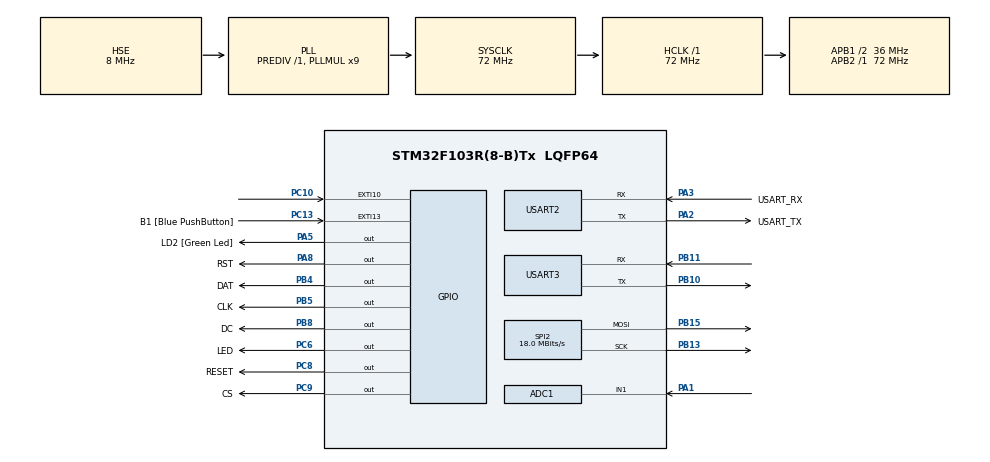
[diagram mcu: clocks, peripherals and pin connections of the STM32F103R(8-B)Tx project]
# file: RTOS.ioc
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ADC1.Channel-0\#ChannelRegularConversion=ADC_CHANNEL_1
ADC1.ContinuousConvMode=ENABLE
ADC1.NbrOfConversionFlag=1
ADC1.Rank-0\#ChannelRegularConversion=1
ADC1.SamplingTime-0\#ChannelRegularConversion=ADC_SAMPLETIME_1CYCLE_5
ADC1.master=1
Dma.ADC1.1.Direction=DMA_PERIPH_TO_MEMORY
Dma.ADC1.1.Instance=DMA1_Channel1
Dma.ADC1.1.MemDataAlignment=DMA_MDATAALIGN_HALFWORD
Dma.ADC1.1.MemInc=DMA_MINC_ENABLE
Dma.ADC1.1.Mode=DMA_NORMAL
Dma.ADC1.1.PeriphDataAlignment=DMA_PDATAALIGN_HALFWORD
Dma.ADC1.1.PeriphInc=DMA_PINC_DISABLE
Dma.ADC1.1.Priority=DMA_PRIORITY_LOW
Dma.Request0=SPI2_TX
Dma.Request1=ADC1
Dma.Request2=USART3_RX
Dma.Request3=USART3_TX
Dma.SPI2_TX.0.Direction=DMA_MEMORY_TO_PERIPH
Dma.SPI2_TX.0.Instance=DMA1_Channel5
Dma.SPI2_TX.0.MemDataAlignment=DMA_MDATAALIGN_BYTE
Dma.SPI2_TX.0.MemInc=DMA_MINC_ENABLE
Dma.SPI2_TX.0.Mode=DMA_NORMAL
Dma.SPI2_TX.0.PeriphDataAlignment=DMA_PDATAALIGN_BYTE
Dma.SPI2_TX.0.PeriphInc=DMA_PINC_DISABLE
Dma.SPI2_TX.0.Priority=DMA_PRIORITY_VERY_HIGH
Dma.USART3_RX.2.Direction=DMA_PERIPH_TO_MEMORY
Dma.USART3_RX.2.Instance=DMA1_Channel3
Dma.USART3_RX.2.MemDataAlignment=DMA_MDATAALIGN_BYTE
Dma.USART3_RX.2.MemInc=DMA_MINC_ENABLE
Dma.USART3_RX.2.Mode=DMA_NORMAL
Dma.USART3_RX.2.PeriphDataAlignment=DMA_PDATAALIGN_BYTE
Dma.USART3_RX.2.PeriphInc=DMA_PINC_DISABLE
Dma.USART3_RX.2.Priority=DMA_PRIORITY_MEDIUM
Dma.USART3_TX.3.Direction=DMA_MEMORY_TO_PERIPH
Dma.USART3_TX.3.Instance=DMA1_Channel2
Dma.USART3_TX.3.MemDataAlignment=DMA_MDATAALIGN_BYTE
Dma.USART3_TX.3.MemInc=DMA_MINC_ENABLE
Dma.USART3_TX.3.Mode=DMA_NORMAL
Dma.USART3_TX.3.PeriphDataAlignment=DMA_PDATAALIGN_BYTE
Dma.USART3_TX.3.PeriphInc=DMA_PINC_DISABLE
Dma.USART3_TX.3.Priority=DMA_PRIORITY_MEDIUM
FREERTOS.BinarySemaphores01=time,Dynamic,NULL,Depleted;sensor,Dynamic,NULL,Depleted
FREERTOS.HEAP_NUMBER=4
FREERTOS.Tasks01=collect,29,512,collection,Default,NULL,Dynamic,NULL,NULL;tx,40,512,trans,Default,NULL,Dynamic,NULL,NULL;LCDtask,24,512,LCD,Default,NULL,Dynamic,NULL,NULL
FREERTOS.configMINIMAL_STACK_SIZE=256
FREERTOS.configTOTAL_HEAP_SIZE=10000
FREERTOS.configUSE_NEWLIB_REENTRANT=1
Mcu.Family=STM32F1
Mcu.Name=STM32F103R(8-B)Tx
Mcu.Package=LQFP64
NVIC.DMA1_Channel1_IRQn=true\:5\:0\:false\:false\:true\:true\:false\:true\:true
NVIC.DMA1_Channel2_IRQn=true\:5\:0\:false\:false\:true\:true\:false\:true\:true
NVIC.DMA1_Channel3_IRQn=true\:5\:0\:false\:false\:true\:true\:false\:true\:true
NVIC.DMA1_Channel5_IRQn=true\:5\:0\:false\:false\:true\:true\:false\:true\:true
NVIC.EXTI15_10_IRQn=true\:5\:0\:false\:false\:true\:true\:true\:true\:true
NVIC.PriorityGroup=NVIC_PRIORITYGROUP_4
NVIC.TIM4_IRQn=true\:15\:0\:false\:false\:true\:false\:false\:true\:true
NVIC.TimeBase=TIM4_IRQn
NVIC.TimeBaseIP=TIM4
NVIC.USART3_IRQn=true\:5\:0\:false\:false\:true\:true\:true\:true\:true
PA1.Signal=ADCx_IN1
PA13.GPIO_Label=TMS
PA13.Mode=Serial_Wire
PA13.Signal=SYS_JTMS-SWDIO
PA14.GPIO_Label=TCK
PA14.Mode=Serial_Wire
PA14.Signal=SYS_JTCK-SWCLK
PA2.GPIO_Label=USART_TX
PA2.GPIO_Mode=GPIO_MODE_AF_PP
PA2.GPIO_PuPd=GPIO_NOPULL
PA2.GPIO_Speed=GPIO_SPEED_FREQ_LOW
PA2.Mode=Asynchronous
PA2.Signal=USART2_TX
PA3.GPIO_Label=USART_RX
PA3.GPIO_Mode=GPIO_MODE_AF_PP
PA3.GPIO_PuPd=GPIO_NOPULL
PA3.GPIO_Speed=GPIO_SPEED_FREQ_LOW
PA3.Mode=Asynchronous
PA3.Signal=USART2_RX
PA5.GPIO_Label=LD2 [Green Led]
PA5.GPIO_ModeDefaultOutputPP=GPIO_MODE_OUTPUT_PP
PA5.GPIO_PuPd=GPIO_NOPULL
PA5.GPIO_Speed=GPIO_SPEED_FREQ_LOW
PA5.Signal=GPIO_Output
PA8.GPIO_Label=RST
PA8.GPIO_Speed=GPIO_SPEED_FREQ_MEDIUM
PA8.PinState=GPIO_PIN_RESET
PA8.Signal=GPIO_Output
PB10.Mode=Asynchronous
PB10.Signal=USART3_TX
PB11.Mode=Asynchronous
PB11.Signal=USART3_RX
PB13.Mode=TX_Only_Simplex_Unidirect_Master
PB13.Signal=SPI2_SCK
PB15.Mode=TX_Only_Simplex_Unidirect_Master
PB15.Signal=SPI2_MOSI
PB3.GPIO_Label=SWO
PB3.Signal=SYS_JTDO-TRACESWO
PB4.GPIO_Label=DAT
PB4.GPIO_Speed=GPIO_SPEED_FREQ_MEDIUM
PB4.Signal=GPIO_Output
PB5.GPIO_Label=CLK
PB5.GPIO_Speed=GPIO_SPEED_FREQ_MEDIUM
PB5.PinState=GPIO_PIN_RESET
PB5.Signal=GPIO_Output
PB8.GPIO_Label=DC
PB8.GPIO_Speed=GPIO_SPEED_FREQ_MEDIUM
PB8.Signal=GPIO_Output
PC10.GPIO_ModeDefaultEXTI=GPIO_MODE_IT_FALLING
PC10.GPIO_PuPd=GPIO_PULLUP
PC10.Signal=GPXTI10
PC13-TAMPER-RTC.GPIO_Label=B1 [Blue PushButton]
PC13-TAMPER-RTC.GPIO_PuPd=GPIO_NOPULL
PC13-TAMPER-RTC.Signal=GPXTI13
PC14-OSC32_IN.Mode=LSE-External-Oscillator
PC14-OSC32_IN.Signal=RCC_OSC32_IN
PC15-OSC32_OUT.Mode=LSE-External-Oscillator
PC15-OSC32_OUT.Signal=RCC_OSC32_OUT
PC6.GPIO_Label=LED
PC6.GPIO_Speed=GPIO_SPEED_FREQ_MEDIUM
PC6.PinState=GPIO_PIN_SET
PC6.Signal=GPIO_Output
PC8.GPIO_Label=RESET
PC8.GPIO_Speed=GPIO_SPEED_FREQ_MEDIUM
PC8.Signal=GPIO_Output
PC9.GPIO_Label=CS
PC9.GPIO_Speed=GPIO_SPEED_FREQ_MEDIUM
PC9.PinState=GPIO_PIN_SET
PC9.Signal=GPIO_Output
PD0-OSC_IN.Mode=HSE-External-Clock-Source
PD0-OSC_IN.Signal=RCC_OSC_IN
PD1-OSC_OUT.Mode=HSE-External-Clock-Source
PD1-OSC_OUT.Signal=RCC_OSC_OUT
ProjectManager.HeapSize=0x200
ProjectManager.StackSize=0x400
ProjectManager.TargetToolchain=STM32CubeIDE
RCC.ADCPresc=RCC_ADCPCLK2_DIV6
RCC.AHBFreq_Value=72000000
RCC.APB1CLKDivider=RCC_HCLK_DIV2
RCC.APB1Freq_Value=36000000
RCC.APB1TimFreq_Value=72000000
RCC.APB2Freq_Value=72000000
RCC.APB2TimFreq_Value=72000000
RCC.HCLKFreq_Value=72000000
RCC.PLLMUL=RCC_PLL_MUL9
RCC.PLLSourceVirtual=RCC_PLLSOURCE_HSE
RCC.RTCClockSelection=RCC_RTCCLKSOURCE_LSE
RCC.SYSCLKFreq_VALUE=72000000
RCC.SYSCLKSource=RCC_SYSCLKSOURCE_PLLCLK
RCC.USBFreq_Value=72000000
SH.ADCx_IN1.0=ADC1_IN1,IN1
SPI2.CalculateBaudRate=18.0 MBits/s
SPI2.Direction=SPI_DIRECTION_2LINES
SPI2.Mode=SPI_MODE_MASTER
SPI2.VirtualType=VM_MASTER
USART2.VirtualMode=VM_ASYNC
USART3.VirtualMode=VM_ASYNC
VP_FREERTOS_VS_CMSIS_V2.Mode=CMSIS_V2
VP_SYS_VS_tim4.Mode=TIM4
board=NUCLEO-F103RB

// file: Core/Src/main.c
/* USER CODE BEGIN Header */
  /**
    ******************************************************************************
    * @file           : main.c
    * @brief          : Main program body
    ******************************************************************************
    * @attention
    *
    * Copyright (c) 2025 STMicroelectronics.
    * All rights reserved.
    *
    * This software is licensed under terms that can be found in the LICENSE file
    * in the root directory of this software component.
    * If no LICENSE file comes with this software, it is provided AS-IS.
    *
    ******************************************************************************
    */
/* USER CODE END Header */
#include "main.h"
#include "cmsis_os.h"

/* USER CODE BEGIN Includes */
  #include "fonts.h"
  #include "ILI9341_GFX.h"
  #include "ILI9341_STM32_Driver.h"

  #include "stdio.h"
  #include "string.h"
  #include "stdlib.h"
/* USER CODE END Includes */

/* USER CODE BEGIN PTD */
  typedef struct{
  	char rainplus[15];
  	char waterplus[15];
  	char distplus[15];;
  	char rssiplus[25];

  	int rssi;
  }lcd;

  typedef struct{
  	float wateraver;
  	float rainaver;
  }sensor;

  typedef struct timemeet
  {
  	int tensec;
  	int tenmin;
  	int tenhour;
  	int tendate;
  	int tenmonth;
  	int realyear;
  }timemeet;
/* USER CODE END PTD */

ADC_HandleTypeDef hadc1;
DMA_HandleTypeDef hdma_adc1;

SPI_HandleTypeDef hspi2;
DMA_HandleTypeDef hdma_spi2_tx;

UART_HandleTypeDef huart2;
UART_HandleTypeDef huart3;
DMA_HandleTypeDef hdma_usart3_rx;
DMA_HandleTypeDef hdma_usart3_tx;

/* Definitions for collect */
osThreadId_t collectHandle;
const osThreadAttr_t collect_attributes = {
  .name = "collect",
  .stack_size = 512 * 4,
  .priority = (osPriority_t) osPriorityNormal5,
};
/* Definitions for tx */
osThreadId_t txHandle;
const osThreadAttr_t tx_attributes = {
  .name = "tx",
  .stack_size = 512 * 4,
  .priority = (osPriority_t) osPriorityHigh,
};
/* Definitions for LCDtask */
osThreadId_t LCDtaskHandle;
const osThreadAttr_t LCDtask_attributes = {
  .name = "LCDtask",
  .stack_size = 512 * 4,
  .priority = (osPriority_t) osPriorityNormal,
};
/* Definitions for time */
osSemaphoreId_t timeHandle;
const osSemaphoreAttr_t time_attributes = {
  .name = "time"
};
/* Definitions for sensor */
osSemaphoreId_t sensorHandle;
const osSemaphoreAttr_t sensor_attributes = {
  .name = "sensor"
};
/* USER CODE BEGIN PV */
  uint16_t waterpp = 0;
  uint8_t timecheck = 0;
  uint16_t branch = 0;
  uint8_t sec = 0;
  uint8_t min = 0;
  uint8_t hour = 0;
  uint8_t date = 0;
  uint8_t month = 0;
  uint8_t year = 0;
  uint8_t tenyear = 0;

  uint8_t stop = 1;
  uint16_t adc_buffer[50];
  uint32_t start = 0;

  float rain = 0;
  float water = 0;
  float watervalue = 0;

  char modem[80] = { 0 };
  char timebuff[40] = { 0 };

  timemeet timedata;
/* USER CODE END PV */

void SystemClock_Config(void);
static void MX_GPIO_Init(void);
static void MX_DMA_Init(void);
static void MX_USART2_UART_Init(void);
static void MX_SPI2_Init(void);
static void MX_ADC1_Init(void);
static void MX_USART3_UART_Init(void);
void collection(void *argument);
void trans(void *argument);
void LCD(void *argument);
void DS1302_WriteByte(uint8_t,uint8_t);

/* USER CODE BEGIN PFP */
  osMessageQueueId_t lcdQueue;
  osMessageQueueId_t sensorvalueQueue;
/* USER CODE END PFP */

int main(void)
{

  /* MCU Configuration--------------------------------------------------------*/

  /* Reset of all peripherals, Initializes the Flash interface and the Systick. */
  HAL_Init();

  /* Configure the system clock */
  SystemClock_Config();

  /* Initialize all configured peripherals */
  MX_GPIO_Init();
  MX_DMA_Init();
  MX_USART2_UART_Init();
  MX_SPI2_Init();
  MX_ADC1_Init();
  MX_USART3_UART_Init();
  /* USER CODE BEGIN 2 */

    ILI9341_Init();

    ILI9341_FillScreen(WHITE);

     HAL_Delay(10);
    ILI9341_FillScreen(WHITE);
    ILI9341_DrawText("Start",FONT4,95,170,BLACK,WHITE);

    HAL_Delay(5000);

    ILI9341_FillScreen(WHITE);

    while(1)
     {
   	  ILI9341_FillScreen(BLACK);

   	  HAL_Delay(1000);

   	  ILI9341_FillScreen(WHITE);

   	  HAL_Delay(1000);

     ILI9341_DrawText("AT",FONT4,100,160,BLACK, WHITE);

     memset(modem,0,sizeof(modem));
     HAL_UART_Transmit(&huart3,(uint8_t*)"AT\r\n",strlen("AT\r\n"),1000);
     HAL_UART_Receive(&huart3,(uint8_t*)modem,sizeof(modem),1000);

     if(strstr((const char*)modem,"OK") == NULL)
     {
   	  ILI9341_DrawText("AT Fail",FONT4,100,160,BLACK,WHITE);
   	  HAL_Delay(1000);

   	  ILI9341_FillScreen(WHITE);

   	  continue;
     }
     memset(modem,0,sizeof(modem));

     ILI9341_DrawText("AT OK",FONT4,100,160,BLACK, WHITE);

     HAL_Delay(1000);

     ILI9341_FillScreen(WHITE);

     ILI9341_DrawText("AT CFUN",FONT4,80,160,BLACK,WHITE);

     HAL_Delay(1000);

     memset(modem,0,sizeof(modem));
     HAL_UART_Transmit(&huart3,(uint8_t*)"AT+CFUN=1,1\r\n",strlen("AT+CFUN=1,1\r\n"), 1000);

     HAL_Delay(1000);

     ILI9341_FillScreen(WHITE);

     ILI9341_DrawText("Modem reseting..",FONT4,60,160,BLACK,WHITE);

     HAL_Delay(30000);

     ILI9341_FillScreen(WHITE);

     ILI9341_DrawText("AT CREG",FONT4,90,160,BLACK,WHITE);

     HAL_Delay(1000);

     memset(modem,0,sizeof(modem));
     HAL_UART_Transmit(&huart3,(uint8_t*)"AT+CREG?\r\n",strlen("AT+CREG?\r\n"),1000);
     HAL_UART_Receive(&huart3,(uint8_t*)modem,sizeof(modem),1000);

     if (strstr((const char*)modem, "0,1") == NULL && strstr((const char*)modem, "0,5") == NULL)
     {
   	  ILI9341_DrawText("AT CREG Fail",FONT4,70,160,BLACK,WHITE);
   	  HAL_Delay(1000);

   	  continue;
     }

     ILI9341_DrawText("AT CREG OK",FONT4,70,160,BLACK,WHITE);

     HAL_Delay(1000);

     ILI9341_FillScreen(WHITE);

     ILI9341_DrawText("AT+CGDCONT",FONT4,60,160,BLACK,WHITE);

     HAL_Delay(1000);

     memset(modem,0,sizeof(modem));
     HAL_UART_Transmit(&huart3,(uint8_t*)"AT+CGDCONT=1,\"IP\",\"3gnet\"\r\n",strlen("AT+CGDCONT=1,\"IP\",\"3gnet\"\r\n"),1000);
     HAL_UART_Receive(&huart3,(uint8_t*)modem,sizeof(modem),1000);

     if(strstr((const char*)modem,"OK") == NULL)
     {
   	  ILI9341_DrawText("AT CGDCONT Fail",FONT4,50,160,BLACK,WHITE);
   	  HAL_Delay(1000);

   	  continue;
     }

     ILI9341_DrawText("AT CGDCONT OK",FONT4,50,160,BLACK,WHITE);

     HAL_Delay(1000);

     ILI9341_FillScreen(WHITE);

     ILI9341_DrawText("AT SICS TYPE",FONT4,50,160,BLACK,WHITE);

     HAL_Delay(1000);

     memset(modem,0,sizeof(modem));

     HAL_UART_Transmit(&huart3,(uint8_t*)"AT^SICS=0,\"conType\",\"GPRS0\"\r\n",strlen("AT^SICS=0,\"conType\",\"GPRS0\"\r\n"),1000);
     HAL_UART_Receive(&huart3,(uint8_t*)modem,sizeof(modem),1000);

     if(strstr((const char*)modem,"OK") == NULL)
     {
   	  ILI9341_DrawText("AT SICS TYPE Fail",FONT4,50,160,BLACK,WHITE);
   	  HAL_Delay(1000);

   	  continue;
     }

     ILI9341_DrawText("AT SICS TYPE OK",FONT4,50,160,BLACK,WHITE);

     HAL_Delay(1000);

     ILI9341_FillScreen(WHITE);

     ILI9341_DrawText("AT SICS APN",FONT4,60,160,BLACK,WHITE);

     HAL_Delay(1000);

     memset(modem,0,sizeof(modem));

     HAL_UART_Transmit(&huart3,(uint8_t*)"AT^SICS=0,\"apn\",\"3gnet\"\r\n",strlen("AT^SICS=0,\"apn\",\"3gnet\"\r\n"),1000);
     HAL_UART_Receive(&huart3,(uint8_t*)modem,sizeof(modem),1000);

     if(strstr((const char*)modem, "OK") == NULL)
     {
   	  ILI9341_DrawText("AT SICS APN Fail",FONT4,50,160,BLACK,WHITE);
   	  HAL_Delay(1000);

   	  continue;
     }

     ILI9341_DrawText("AT SICS APN OK",FONT4,50,160,BLACK,WHITE);

     HAL_Delay(1000);

     ILI9341_FillScreen(WHITE);

     ILI9341_DrawText("AT SISS TYPE",FONT4,60,160,BLACK,WHITE);

     HAL_Delay(1000);
     memset(modem,0,sizeof(modem));
     HAL_UART_Transmit(&huart3,(uint8_t*)"AT^SISS=0,\"srvType\",\"Socket\"\r\n",strlen("AT^SISS=0,\"srvType\",\"Socket\"\r\n"),1000);
     HAL_UART_Receive(&huart3,(uint8_t*)modem,sizeof(modem),1000);

     if(strstr((const char*) modem, "OK") == NULL)
     {
   	  ILI9341_DrawText("AT SISS TYPE Fail",FONT4,50,160,BLACK,WHITE);
   	  HAL_Delay(1000);

   	  continue;
     }

     ILI9341_DrawText("AT SISS TYPE OK",FONT4,60,160,BLACK,WHITE);

     HAL_Delay(1000);

     ILI9341_FillScreen(WHITE);

     ILI9341_DrawText("AT SISS ID",FONT4,70,160,BLACK,WHITE);

     HAL_Delay(1000);
     memset(modem,0,sizeof(modem));
     HAL_UART_Transmit(&huart3,(uint8_t*)"AT^SISS=0,\"conId\",0\r\n",strlen("AT^SISS=0,\"conId\",0\r\n"),1000);
     HAL_UART_Receive(&huart3,(uint8_t*)modem,sizeof(modem),1000);

     if(strstr((const char*)modem,"OK") == NULL)
     {
   	  ILI9341_DrawText("AT SISS ID Fail",FONT4,60,160,BLACK,WHITE);
   	  HAL_Delay(1000);

   	  continue;
     }

     ILI9341_DrawText("AT SISS ID OK",FONT4,70,160,BLACK,WHITE);

     HAL_Delay(1000);

     ILI9341_FillScreen(WHITE);

     ILI9341_DrawText("AT SISS address",FONT4,60,160,BLACK,WHITE);

     HAL_Delay(1000);

     memset(modem,0,sizeof(modem));
     HAL_UART_Transmit(&huart3,(uint8_t*)"AT^SISS=0,\"address\",\"socktcp://49.254.169.71:5001\"\r\n",strlen("AT^SISS=0,\"address\",\"socktcp://49.254.169.71:5001\"\r\n"), 1000);
     HAL_UART_Receive(&huart3,(uint8_t*)modem,sizeof(modem),1000);

     if(strstr((const char*)modem, "OK") == NULL)
     {
   	  ILI9341_DrawText("AT SISS address Fail",FONT4,40,160,BLACK,WHITE);
   	  HAL_Delay(1000);

   	  continue;
     }

     ILI9341_DrawText("AT SISS address OK",FONT4,50,160,BLACK,WHITE);

     HAL_Delay(1000);

     ILI9341_FillScreen(WHITE);

     ILI9341_DrawText("AT+CGATT",FONT4,80,160,BLACK,WHITE);

     HAL_Delay(1000);
     memset(modem,0,sizeof(modem));
     HAL_UART_Transmit(&huart3,(uint8_t*)"AT+CGATT?\r\n",strlen("AT+CGATT?\r\n"), 1000);
     HAL_UART_Receive(&huart3,(uint8_t*)modem,sizeof(modem),1000);

     if(strstr((const char*)modem,"1") == NULL)
     {
   	 ILI9341_DrawText("AT+CGATT Fail",FONT4,70,160,BLACK,WHITE);
   	 HAL_Delay(1000);

   	 continue;
     }

     ILI9341_DrawText("AT CGATT OK",FONT4,70,160,BLACK,WHITE);

     HAL_Delay(1000);

     ILI9341_FillScreen(WHITE);

     ILI9341_DrawText("AT+CGACT",FONT4,70,160,BLACK,WHITE);

     HAL_Delay(1000);
     memset(modem,0,sizeof(modem));
     HAL_UART_Transmit(&huart3,(uint8_t*)"AT+CGACT=1,1\r\n",strlen("AT+CGACT=1,1\r\n"), 1000);
     HAL_UART_Receive(&huart3,(uint8_t*)modem,sizeof(modem),1000);

     HAL_Delay(5000);

     if(strstr((const char*)modem,"1,1") == NULL)
      {
    	  ILI9341_DrawText("AT+CGACT Fail",FONT4,80,160,BLACK,WHITE);
    	  HAL_Delay(1000);

    	  continue;
      }

      ILI9341_DrawText("AT+CGACT OK",FONT4,70,160,BLACK,WHITE);

        HAL_Delay(1000);

        HAL_UART_Transmit(&huart3,(uint8_t*)"AT^SISO=0\r\n",strlen("AT^SISO=0\r\n"),1000);
        HAL_UART_Receive(&huart3,(uint8_t*)modem,sizeof(modem),1000);

        HAL_Delay(3000);

        ILI9341_DrawText("Communication OK?",FONT4,60,160,BLACK,WHITE);

        HAL_Delay(1000);

        HAL_UART_Transmit(&huart3,(uint8_t*)"AT^SISI?\r\n",strlen("AT^SISI?\r\n"),1000);
        HAL_UART_Receive(&huart3,(uint8_t*)modem,sizeof(modem),1000);

        if(strstr((const char*)modem, "0,4") == NULL)
        {
       	 ILI9341_DrawText("Communication Fail",FONT4,40,160,BLACK,WHITE);
       	 HAL_Delay(1000);

       	 continue;
        }
        ILI9341_FillScreen(WHITE);

        ILI9341_DrawText("Communication OK",FONT4,50,160,BLACK,WHITE);

        HAL_Delay(1000);

        ILI9341_FillScreen(WHITE);

        break;
     }

/*  DS1302_WriteByte(0x80,0x30);
    DS1302_WriteByte(0x82,0x21);
    DS1302_WriteByte(0x84,0x11);
    DS1302_WriteByte(0x86,0x23);
    DS1302_WriteByte(0x88,0x06);
    DS1302_WriteByte(0x8C,0x25);
*/
    HAL_UARTEx_ReceiveToIdle_DMA(&huart3,(uint8_t*)modem,sizeof(modem));

  /* USER CODE END 2 */

  /* Init scheduler */
  osKernelInitialize();

  /* Create the semaphores(s) */
  /* creation of time */
  timeHandle = osSemaphoreNew(1, 0, &time_attributes);

  /* creation of sensor */
  sensorHandle = osSemaphoreNew(1, 0, &sensor_attributes);

  /* USER CODE BEGIN RTOS_QUEUES */
    /* add queues, ... */
    lcdQueue = osMessageQueueNew(4, sizeof(lcd), NULL);
    sensorvalueQueue = osMessageQueueNew(4, sizeof(sensor), NULL);
  /* USER CODE END RTOS_QUEUES */

  /* Create the thread(s) */
  /* creation of collect */
  collectHandle = osThreadNew(collection, NULL, &collect_attributes);

  /* creation of tx */
  txHandle = osThreadNew(trans, NULL, &tx_attributes);

  /* creation of LCDtask */
  LCDtaskHandle = osThreadNew(LCD, NULL, &LCDtask_attributes);

  /* Start scheduler */
  osKernelStart();

  /* We should never get here as control is now taken by the scheduler */

  /* Infinite loop */
    while (1)
    {

    }
}

void SystemClock_Config(void)
{
  RCC_OscInitTypeDef RCC_OscInitStruct = {0};
  RCC_ClkInitTypeDef RCC_ClkInitStruct = {0};
  RCC_PeriphCLKInitTypeDef PeriphClkInit = {0};

  /** Initializes the RCC Oscillators according to the specified parameters
  * in the RCC_OscInitTypeDef structure.
  */
  RCC_OscInitStruct.OscillatorType = RCC_OSCILLATORTYPE_HSE;
  RCC_OscInitStruct.HSEState = RCC_HSE_BYPASS;
  RCC_OscInitStruct.HSEPredivValue = RCC_HSE_PREDIV_DIV1;
  RCC_OscInitStruct.HSIState = RCC_HSI_ON;
  RCC_OscInitStruct.PLL.PLLState = RCC_PLL_ON;
  RCC_OscInitStruct.PLL.PLLSource = RCC_PLLSOURCE_HSE;
  RCC_OscInitStruct.PLL.PLLMUL = RCC_PLL_MUL9;
  if (HAL_RCC_OscConfig(&RCC_OscInitStruct) != HAL_OK)
  {
    Error_Handler();
  }

  /** Initializes the CPU, AHB and APB buses clocks
  */
  RCC_ClkInitStruct.ClockType = RCC_CLOCKTYPE_HCLK|RCC_CLOCKTYPE_SYSCLK
                              |RCC_CLOCKTYPE_PCLK1|RCC_CLOCKTYPE_PCLK2;
  RCC_ClkInitStruct.SYSCLKSource = RCC_SYSCLKSOURCE_PLLCLK;
  RCC_ClkInitStruct.AHBCLKDivider = RCC_SYSCLK_DIV1;
  RCC_ClkInitStruct.APB1CLKDivider = RCC_HCLK_DIV2;
  RCC_ClkInitStruct.APB2CLKDivider = RCC_HCLK_DIV1;

  if (HAL_RCC_ClockConfig(&RCC_ClkInitStruct, FLASH_LATENCY_2) != HAL_OK)
  {
    Error_Handler();
  }
  PeriphClkInit.PeriphClockSelection = RCC_PERIPHCLK_ADC;
  PeriphClkInit.AdcClockSelection = RCC_ADCPCLK2_DIV6;
  if (HAL_RCCEx_PeriphCLKConfig(&PeriphClkInit) != HAL_OK)
  {
    Error_Handler();
  }
}

static void MX_ADC1_Init(void)
{

  ADC_ChannelConfTypeDef sConfig = {0};

  /** Common config
  */
  hadc1.Instance = ADC1;
  hadc1.Init.ScanConvMode = ADC_SCAN_DISABLE;
  hadc1.Init.ContinuousConvMode = ENABLE;
  hadc1.Init.DiscontinuousConvMode = DISABLE;
  hadc1.Init.ExternalTrigConv = ADC_SOFTWARE_START;
  hadc1.Init.DataAlign = ADC_DATAALIGN_RIGHT;
  hadc1.Init.NbrOfConversion = 1;
  if (HAL_ADC_Init(&hadc1) != HAL_OK)
  {
    Error_Handler();
  }

  /** Configure Regular Channel
  */
  sConfig.Channel = ADC_CHANNEL_1;
  sConfig.Rank = ADC_REGULAR_RANK_1;
  sConfig.SamplingTime = ADC_SAMPLETIME_1CYCLE_5;
  if (HAL_ADC_ConfigChannel(&hadc1, &sConfig) != HAL_OK)
  {
    Error_Handler();
  }

}

static void MX_SPI2_Init(void)
{

  /* SPI2 parameter configuration*/
  hspi2.Instance = SPI2;
  hspi2.Init.Mode = SPI_MODE_MASTER;
  hspi2.Init.Direction = SPI_DIRECTION_2LINES;
  hspi2.Init.DataSize = SPI_DATASIZE_8BIT;
  hspi2.Init.CLKPolarity = SPI_POLARITY_LOW;
  hspi2.Init.CLKPhase = SPI_PHASE_1EDGE;
  hspi2.Init.NSS = SPI_NSS_SOFT;
  hspi2.Init.BaudRatePrescaler = SPI_BAUDRATEPRESCALER_2;
  hspi2.Init.FirstBit = SPI_FIRSTBIT_MSB;
  hspi2.Init.TIMode = SPI_TIMODE_DISABLE;
  hspi2.Init.CRCCalculation = SPI_CRCCALCULATION_DISABLE;
  hspi2.Init.CRCPolynomial = 10;
  if (HAL_SPI_Init(&hspi2) != HAL_OK)
  {
    Error_Handler();
  }

}

static void MX_USART2_UART_Init(void)
{

  huart2.Instance = USART2;
  huart2.Init.BaudRate = 115200;
  huart2.Init.WordLength = UART_WORDLENGTH_8B;
  huart2.Init.StopBits = UART_STOPBITS_1;
  huart2.Init.Parity = UART_PARITY_NONE;
  huart2.Init.Mode = UART_MODE_TX_RX;
  huart2.Init.HwFlowCtl = UART_HWCONTROL_NONE;
  huart2.Init.OverSampling = UART_OVERSAMPLING_16;
  if (HAL_UART_Init(&huart2) != HAL_OK)
  {
    Error_Handler();
  }

}

static void MX_USART3_UART_Init(void)
{

  huart3.Instance = USART3;
  huart3.Init.BaudRate = 115200;
  huart3.Init.WordLength = UART_WORDLENGTH_8B;
  huart3.Init.StopBits = UART_STOPBITS_1;
  huart3.Init.Parity = UART_PARITY_NONE;
  huart3.Init.Mode = UART_MODE_TX_RX;
  huart3.Init.HwFlowCtl = UART_HWCONTROL_NONE;
  huart3.Init.OverSampling = UART_OVERSAMPLING_16;
  if (HAL_UART_Init(&huart3) != HAL_OK)
  {
    Error_Handler();
  }

}

static void MX_DMA_Init(void)
{

  /* DMA controller clock enable */
  __HAL_RCC_DMA1_CLK_ENABLE();

  /* DMA interrupt init */
  /* DMA1_Channel1_IRQn interrupt configuration */
  HAL_NVIC_SetPriority(DMA1_Channel1_IRQn, 5, 0);
  HAL_NVIC_EnableIRQ(DMA1_Channel1_IRQn);
  /* DMA1_Channel2_IRQn interrupt configuration */
  HAL_NVIC_SetPriority(DMA1_Channel2_IRQn, 5, 0);
  HAL_NVIC_EnableIRQ(DMA1_Channel2_IRQn);
  /* DMA1_Channel3_IRQn interrupt configuration */
  HAL_NVIC_SetPriority(DMA1_Channel3_IRQn, 5, 0);
  HAL_NVIC_EnableIRQ(DMA1_Channel3_IRQn);
  /* DMA1_Channel5_IRQn interrupt configuration */
  HAL_NVIC_SetPriority(DMA1_Channel5_IRQn, 5, 0);
  HAL_NVIC_EnableIRQ(DMA1_Channel5_IRQn);

}

static void MX_GPIO_Init(void)
{
  GPIO_InitTypeDef GPIO_InitStruct = {0};

  /* GPIO Ports Clock Enable */
  __HAL_RCC_GPIOC_CLK_ENABLE();
  __HAL_RCC_GPIOD_CLK_ENABLE();
  __HAL_RCC_GPIOA_CLK_ENABLE();
  __HAL_RCC_GPIOB_CLK_ENABLE();

  /*Configure GPIO pin Output Level */
  HAL_GPIO_WritePin(GPIOA, LD2_Pin|RST_Pin, GPIO_PIN_RESET);

  /*Configure GPIO pin Output Level */
  HAL_GPIO_WritePin(GPIOC, LED_Pin|CS_Pin, GPIO_PIN_SET);

  /*Configure GPIO pin Output Level */
  HAL_GPIO_WritePin(RESET_GPIO_Port, RESET_Pin, GPIO_PIN_RESET);

  /*Configure GPIO pin Output Level */
  HAL_GPIO_WritePin(GPIOB, DAT_Pin|CLK_Pin|DC_Pin, GPIO_PIN_RESET);

  /*Configure GPIO pin : B1_Pin */
  GPIO_InitStruct.Pin = B1_Pin;
  GPIO_InitStruct.Mode = GPIO_MODE_IT_RISING;
  GPIO_InitStruct.Pull = GPIO_NOPULL;
  HAL_GPIO_Init(B1_GPIO_Port, &GPIO_InitStruct);

  /*Configure GPIO pin : LD2_Pin */
  GPIO_InitStruct.Pin = LD2_Pin;
  GPIO_InitStruct.Mode = GPIO_MODE_OUTPUT_PP;
  GPIO_InitStruct.Pull = GPIO_NOPULL;
  GPIO_InitStruct.Speed = GPIO_SPEED_FREQ_LOW;
  HAL_GPIO_Init(LD2_GPIO_Port, &GPIO_InitStruct);

  /*Configure GPIO pins : LED_Pin RESET_Pin CS_Pin */
  GPIO_InitStruct.Pin = LED_Pin|RESET_Pin|CS_Pin;
  GPIO_InitStruct.Mode = GPIO_MODE_OUTPUT_PP;
  GPIO_InitStruct.Pull = GPIO_NOPULL;
  GPIO_InitStruct.Speed = GPIO_SPEED_FREQ_MEDIUM;
  HAL_GPIO_Init(GPIOC, &GPIO_InitStruct);

  /*Configure GPIO pin : RST_Pin */
  GPIO_InitStruct.Pin = RST_Pin;
  GPIO_InitStruct.Mode = GPIO_MODE_OUTPUT_PP;
  GPIO_InitStruct.Pull = GPIO_NOPULL;
  GPIO_InitStruct.Speed = GPIO_SPEED_FREQ_MEDIUM;
  HAL_GPIO_Init(RST_GPIO_Port, &GPIO_InitStruct);

  /*Configure GPIO pin : PC10 */
  GPIO_InitStruct.Pin = GPIO_PIN_10;
  GPIO_InitStruct.Mode = GPIO_MODE_IT_FALLING;
  GPIO_InitStruct.Pull = GPIO_PULLUP;
  HAL_GPIO_Init(GPIOC, &GPIO_InitStruct);

  /*Configure GPIO pins : DAT_Pin CLK_Pin DC_Pin */
  GPIO_InitStruct.Pin = DAT_Pin|CLK_Pin|DC_Pin;
  GPIO_InitStruct.Mode = GPIO_MODE_OUTPUT_PP;
  GPIO_InitStruct.Pull = GPIO_NOPULL;
  GPIO_InitStruct.Speed = GPIO_SPEED_FREQ_MEDIUM;
  HAL_GPIO_Init(GPIOB, &GPIO_InitStruct);

  /* EXTI interrupt init*/
  HAL_NVIC_SetPriority(EXTI15_10_IRQn, 5, 0);
  HAL_NVIC_EnableIRQ(EXTI15_10_IRQn);

}

/* USER CODE BEGIN 4 */
  void HAL_GPIO_EXTI_Callback(uint16_t GPIO_Pin)
  {
    /* Prevent unused argument(s) compilation warning */
    if(HAL_GetTick() - start >= 50)
    {

    if(GPIO_Pin == GPIO_PIN_10)
    {
  	 rain += 0.5;

  	 start = HAL_GetTick();
    }

    }
    else
    {
  	  	return;
    }
    /* NOTE: This function Should not be modified, when the callback is needed,
             the HAL_GPIO_EXTI_Callback could be implemented in the user file
     */
  }

  void HAL_ADC_ConvCpltCallback(ADC_HandleTypeDef* hadc)
  {
  	if(hadc->Instance == ADC1)
  	{
  		osSemaphoreRelease(timeHandle);
  	}
  }

  void HAL_UARTEx_RxEventCallback(UART_HandleTypeDef *huart, uint16_t Size)
  {
  	 stop = 0;

      HAL_UARTEx_ReceiveToIdle_DMA(&huart3,(uint8_t*)modem,sizeof(modem));
  }

  void ProtectRESET()
  {
  	uint8_t protect = 0x8E;

  	HAL_GPIO_WritePin(RST_GPIO_Port,RST_Pin,GPIO_PIN_SET);

  	for(int i = 0; i < 8; i++)
  	{
  	   HAL_GPIO_WritePin(DAT_GPIO_Port,DAT_Pin,(protect >> i) & 0x01);

  	   HAL_GPIO_WritePin(CLK_GPIO_Port,CLK_Pin,GPIO_PIN_SET);
  	   HAL_GPIO_WritePin(CLK_GPIO_Port,CLK_Pin,GPIO_PIN_RESET);
  	}

  	for(int i = 0; i < 8; i++)
  	{
  		HAL_GPIO_WritePin(DAT_GPIO_Port,DAT_Pin,0x00);

  		HAL_GPIO_WritePin(CLK_GPIO_Port,CLK_Pin,GPIO_PIN_SET);
  	    HAL_GPIO_WritePin(CLK_GPIO_Port,CLK_Pin,GPIO_PIN_RESET);
  	}

  	HAL_GPIO_WritePin(RST_GPIO_Port,RST_Pin,GPIO_PIN_RESET);
  }

  void DS1302_RESET()
  {
  	HAL_GPIO_WritePin(RST_GPIO_Port,RST_Pin,GPIO_PIN_RESET);
  	HAL_GPIO_WritePin(CLK_GPIO_Port,CLK_Pin,GPIO_PIN_RESET);
  }

  void DS1302_WriteByte(uint8_t ch,uint8_t data)
  {

  	HAL_GPIO_WritePin(RST_GPIO_Port,RST_Pin,GPIO_PIN_SET);
  	for(int i = 0; i < 8; i++)
  	{
  		HAL_GPIO_WritePin(DAT_GPIO_Port,DAT_Pin,(ch >> i) & 0x01);

  		HAL_GPIO_WritePin(CLK_GPIO_Port,CLK_Pin,GPIO_PIN_SET);
  		HAL_GPIO_WritePin(CLK_GPIO_Port,CLK_Pin,GPIO_PIN_RESET);
  	}

  	HAL_Delay(10);

  	for(int i = 0; i < 8; i++)
  	{
  		HAL_GPIO_WritePin(DAT_GPIO_Port,DAT_Pin,(data >> i) & 0x01);

  		HAL_GPIO_WritePin(CLK_GPIO_Port,CLK_Pin,GPIO_PIN_SET);
  		HAL_GPIO_WritePin(CLK_GPIO_Port,CLK_Pin,GPIO_PIN_RESET);
  	}

  	HAL_GPIO_WritePin(RST_GPIO_Port,RST_Pin,GPIO_PIN_RESET);
  }

  uint16_t DS1302_ReadByte(uint16_t ch)
  {
  	uint16_t time = 0;

  	HAL_GPIO_WritePin(RST_GPIO_Port,RST_Pin,GPIO_PIN_SET);

  	for(int i = 0; i < 8; i++)
  	{
  		HAL_GPIO_WritePin(DAT_GPIO_Port,DAT_Pin,(ch >> i) & 0x01);
  		HAL_GPIO_WritePin(CLK_GPIO_Port,CLK_Pin,GPIO_PIN_SET);
  		HAL_GPIO_WritePin(CLK_GPIO_Port,CLK_Pin,GPIO_PIN_RESET);
  	}

  	GPIO_InitTypeDef GPIO_InitStruct = {0};

  	GPIO_InitStruct.Pin = DAT_Pin;
  	GPIO_InitStruct.Mode = GPIO_MODE_INPUT;
  	GPIO_InitStruct.Pull = GPIO_NOPULL;
  	GPIO_InitStruct.Speed = GPIO_SPEED_FREQ_LOW;
  	HAL_GPIO_Init(GPIOB, &GPIO_InitStruct);

  	for(int i = 0; i < 8; i++)
  	{
  	 if(HAL_GPIO_ReadPin(DAT_GPIO_Port,DAT_Pin) == GPIO_PIN_SET)
  	 {
  		time |= 1 << i;
  	 }

  	 HAL_GPIO_WritePin(CLK_GPIO_Port,CLK_Pin,GPIO_PIN_SET);
  	 HAL_GPIO_WritePin(CLK_GPIO_Port,CLK_Pin,GPIO_PIN_RESET);
  	}

  	HAL_GPIO_WritePin(RST_GPIO_Port,RST_Pin,GPIO_PIN_RESET);

  	 GPIO_InitStruct.Pin = DAT_Pin;
  	 GPIO_InitStruct.Mode = GPIO_MODE_OUTPUT_PP;
  	 GPIO_InitStruct.Pull = GPIO_NOPULL;
  	 GPIO_InitStruct.Speed = GPIO_SPEED_FREQ_LOW;
  	 HAL_GPIO_Init(GPIOB, &GPIO_InitStruct);

  	return time;
  }

  uint8_t DS1302_tenone(uint8_t num)
  {
  	uint8_t ten = (num >> 4) * 10;
  	uint8_t one = num & 0x0f;
  	uint8_t sum = ten+one;

  	return sum;
  }

  void Clk()
  {
  	  sec = DS1302_ReadByte(0x81);
  	  min = DS1302_ReadByte(0x83);
  	  hour = DS1302_ReadByte(0x85);
  	  date = DS1302_ReadByte(0x87);
  	  month = DS1302_ReadByte(0x89);
  	  year = DS1302_ReadByte(0x8D);

  	  timedata.tensec = DS1302_tenone(sec);
  	  timedata.tenmin = DS1302_tenone(min);
  	  timedata.tenhour = DS1302_tenone(hour);
  	  timedata.tendate = DS1302_tenone(date);
  	  timedata.tenmonth = DS1302_tenone(month);
  	  tenyear = DS1302_tenone(year);
  	  timedata.realyear = tenyear + 2000;
  }

/* USER CODE END 4 */

void collection(void *argument)
{
  /* USER CODE BEGIN 5 */
    sensor senaver;
    lcd lcdvalue;

    /* Infinite loop */
    for(;;)
    {
  	  watervalue = 0;

  	  HAL_ADC_Start_DMA(&hadc1,(uint32_t*)adc_buffer,50);

  	  osSemaphoreAcquire(timeHandle,osWaitForever);

  	  for(int i = 0; i < 50; i++)
  	  {
  		  watervalue += adc_buffer[i];
  	  }

  	  water = ((3980.0 - (watervalue / 50))  / (3980.0 - 788.0)) * 15.0;

  	  HAL_UART_Transmit_DMA(&huart3, (uint8_t*)"AT+CSQ\r\n",sizeof(modem));

  	  while(1)
  	  {
  	  if(stop == 0)
  	  {
  	  char *csqptr = strstr(modem,":");
  	  sscanf(csqptr,": %d,",&lcdvalue.rssi);

  	  sprintf(lcdvalue.waterplus,"ADC : %.0f",watervalue / 50);
  	  sprintf(lcdvalue.rainplus,"Rain : %.1fmm",rain);
  	  sprintf(lcdvalue.distplus,"Water : %.2fm",water);
  	  sprintf(lcdvalue.rssiplus,"RSSI : %d",lcdvalue.rssi);

  	  break;
  	  }
  	  else
  	  {
  		  HAL_Delay(10);
  	  }
  	  }

  	  senaver.wateraver += water;
  	  senaver.rainaver = rain;
  	  waterpp++;

  	  osMessageQueuePut(lcdQueue,&lcdvalue,0,osWaitForever);

  	  if(timedata.tenmin % 1 == 0)
  	  {
  	 	    	branch++;
  	  }
  	  if(branch == 1)
  	  {
  		  ILI9341_FillScreen(WHITE);

  		  osMessageQueuePut(sensorvalueQueue,&senaver,0,osWaitForever);
  		  osSemaphoreRelease(sensorHandle);

  		  senaver.wateraver = 0;
  		  senaver.rainaver = 0;

  		  if(timedata.tenmin % 1 != 0)
  		  {
  			  branch = 0;
  		  }
  	   }

  	  osDelay(1000);
    }
  /* USER CODE END 5 */
}

void trans(void *argument)
{
  /* USER CODE BEGIN trans */
    sensor sensorrecv;
    lcd lcdcheck;
    uint8_t datalen;
    uint8_t checksum;
    uint8_t checkstack;
    /* Infinite loop */
    for(;;)
    {
  	  	osSemaphoreAcquire(sensorHandle, osWaitForever);

  	  	osMessageQueueGet(sensorvalueQueue,&sensorrecv,NULL,osWaitForever);
  	  	osMessageQueueGet(lcdQueue,&lcdcheck,NULL,osWaitForever);

  	    char datafield[30] = { 0 };
  	    char send[40] = { 0 };
  	    char transfinal[30] = { 0 };

  	    sensorrecv.wateraver /= (float)waterpp;

  	    memset(modem,0,sizeof(modem));

  		while(stop != 0)
  		{
  		if(stop == 0)
  		{
  		sprintf(datafield,"%.1f %.1f %d",sensorrecv.wateraver,sensorrecv.rainaver,lcdcheck.rssi);

  		datalen = strlen(datafield);
  		checksum = 0;
        checkstack = 0;

  		while(datafield[checkstack] != '\0')
  		{
  			checksum ^= datafield[checkstack];

  			checkstack++;
  		}

  		stop = 1;
  		}
  		else
  		{
  		osDelay(1);
  		}
  		}

  		HAL_UART_Transmit_DMA(&huart3,(uint8_t*)"AT^SISI?\r\n",strlen("AT^SISI?\r\n"));

  		while(stop != 0)
  		{
  		if(stop == 0)
  		{
  		if((strstr((const char*)modem,"0,4") == NULL))
  		{
  			ILI9341_FillScreen(WHITE);
  		    ILI9341_DrawText("Re Connecting..\r\n",FONT4,50,160,BLACK, WHITE);

  			HAL_UART_Transmit_DMA(&huart3,(uint8_t*)"AT^SISC=0\r\n",strlen("AT^SISC=0\r\n"));

  			osDelay(3000);

  			HAL_UART_Transmit_DMA(&huart3,(uint8_t*)"AT^SISO=0\r\n",strlen("AT^SISO=0\r\n"));

  			osDelay(5000);

  			ILI9341_FillScreen(WHITE);

  		}
  		stop = 1;
  		}
  		else
  		{
  			osDelay(1);
  		}
  		}
  		sprintf(transfinal,"#%d%.1f %.1f %d$%d@",datalen,sensorrecv.wateraver,sensorrecv.rainaver,lcdcheck.rssi,checksum);

  		sprintf(send,"AT^SISW=0,%d\r\n",strlen(transfinal));

  		HAL_UART_Transmit_DMA(&huart3,(uint8_t*)send,strlen(send));

  	    osDelay(1000);

  	    HAL_UART_Transmit_DMA(&huart3,(uint8_t*)transfinal,strlen(transfinal));

  		osDelay(1000);
  	}

  /* USER CODE END trans */
}

void LCD(void *argument)
{
  /* USER CODE BEGIN LCD */
    lcd lcdrecv;
    /* Infinite loop */
    for(;;)
    {
  	Clk();

  	sprintf(timebuff,"%d-%02d-%02d %02d:%02d:%02d",timedata.realyear,timedata.tenmonth,timedata.tendate,timedata.tenhour,timedata.tenmin,timedata.tensec);

  	osMessageQueueGet(lcdQueue,&lcdrecv,NULL,osWaitForever);

  	ILI9341_DrawText(lcdrecv.waterplus,FONT4,70,40,BLACK,WHITE);
  	ILI9341_DrawText(lcdrecv.rainplus,FONT4,70,80,BLACK,WHITE);
  	ILI9341_DrawText(lcdrecv.distplus,FONT4,70,120,BLACK,WHITE);
  	ILI9341_DrawText(lcdrecv.rssiplus,FONT4,70,200,BLACK,WHITE);
  	ILI9341_DrawText(timebuff,FONT4,20,280,BLACK,WHITE);

    osDelayUntil(1000);
    }
  /* USER CODE END LCD */
}

void HAL_TIM_PeriodElapsedCallback(TIM_HandleTypeDef *htim)
{
  if (htim->Instance == TIM4) {
    HAL_IncTick();
  }
}

void Error_Handler(void)
{
    __disable_irq();
    while (1)
    {
    }
}
